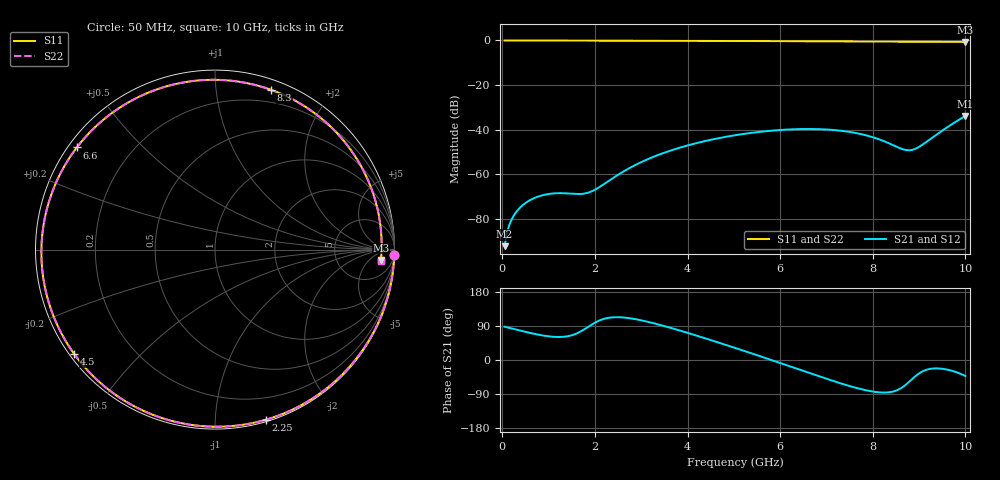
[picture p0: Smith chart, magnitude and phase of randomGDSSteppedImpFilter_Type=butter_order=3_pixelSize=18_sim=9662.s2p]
! freq	dB(S11)	phase(S11)	dB(S12)	phase(S12)
!  dB(S21)	phase(S21)	dB(S22)	phase(S22)
!S-par simulation data
#  GHz  S  DB  R 50
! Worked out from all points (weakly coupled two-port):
!   200 points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, 50 MHz to 10 GHz, reference 50 ohm
!   highest |S21| = -33.84 dB at 10 GHz (marker M1); lowest = -92.3 dB at 50 MHz (marker M2)
!   lowest |S11| = -0.7 dB at 10 GHz (marker M3), VSWR 26.21, Z = 788 - j641 ohm
!   |S11| at or under -10 dB: nowhere
!   |S22| runs from -0.7 to 0.0 dB; largest |S21 - S12| = 0
!   S11 on the Smith chart (normalised r, x): 50 MHz: 1, -67; 2.25 GHz: 0.02, -1.35; 4.5 GHz: 0.01, -0.33; 6.6 GHz: 0.02, +0.33; 8.3 GHz: 0.09, +1.41; 10 GHz: 16, -13
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0.05  -0.00 -1.7  -92.26 87.7  -92.26 87.7  -0.00 -1.7
0.2  -0.01 -6.7  -80.36 83.3  -80.36 83.3  -0.01 -6.7
0.45  -0.02 -15.0  -73.71 75.7  -73.71 75.7  -0.02 -15.0
0.8  -0.03 -26.6  -69.83 66.3  -69.83 66.3  -0.03 -26.6
1.15  -0.05 -38.0  -68.54 60.9  -68.54 60.9  -0.05 -38.0
1.75  -0.07 -57.4  -68.74 79.4  -68.74 79.4  -0.07 -57.4
2.25  -0.09 -73.2  -63.67 110.3  -63.67 110.3  -0.09 -73.2
2.8  -0.12 -90.4  -56.63 109.3  -56.63 109.3  -0.12 -90.5
3.4  -0.14 -109.0  -51.09 92.8  -51.09 92.8  -0.14 -109.1
4.5  -0.21 -143.4  -44.57 52.7  -44.57 52.7  -0.21 -143.4
5.05  -0.24 -161.1  -42.44 30.9  -42.44 30.9  -0.25 -161.2
5.85  -0.31 171.5  -40.40 -1.7  -40.40 -1.7  -0.31 171.4
6.6  -0.38 143.5  -39.70 -33.0  -39.70 -33.0  -0.38 143.3
6.7  -0.39 139.6  -39.72 -37.1  -39.72 -37.1  -0.39 139.4
7.55  -0.46 104.2  -41.20 -70.4  -41.20 -70.4  -0.46 103.9
7.95  -0.49 86.4  -43.08 -82.2  -43.08 -82.2  -0.49 86.1
8.3  -0.51 70.6  -45.68 -85.7  -45.68 -85.7  -0.51 70.3
8.35  -0.51 68.3  -46.13 -85.2  -46.13 -85.2  -0.51 68.0
8.7  -0.53 52.4  -49.07 -66.6  -49.07 -66.6  -0.53 52.0
8.9  -0.54 43.3  -48.77 -44.8  -48.77 -44.8  -0.54 43.0
9.45  -0.59 19.1  -41.13 -22.5  -41.13 -22.5  -0.59 18.8
10  -0.66 -3.6  -33.84 -42.2  -33.84 -42.2  -0.66 -3.9
